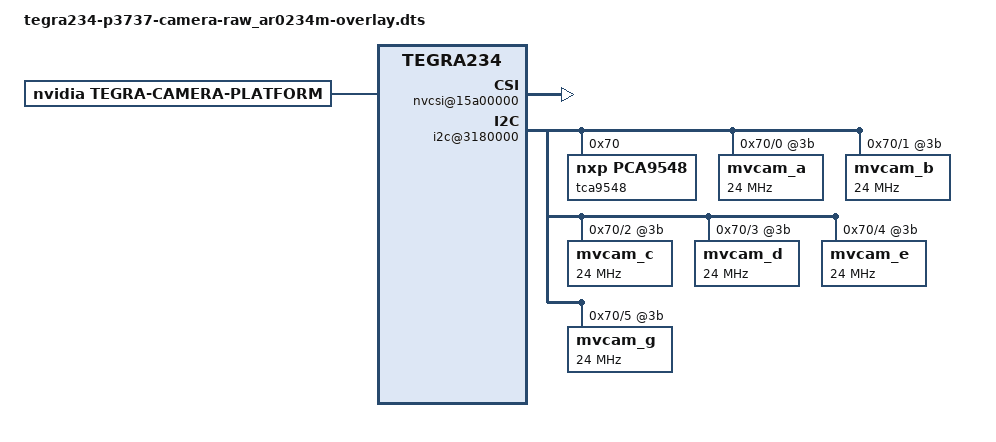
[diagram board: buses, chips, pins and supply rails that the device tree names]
// SPDX-License-Identifier: GPL-2.0-only
// SPDX-FileCopyrightText: Copyright (c) 2015-2024, www.veye.cc.  All rights reserved.

/dts-v1/;
/plugin/;

#include <dt-bindings/clock/tegra234-clock.h>
#include <dt-bindings/gpio/tegra234-gpio.h>
#include <dt-bindings/tegra234-p3737-0000+p3701-0000.h>

#include "tegra234-camera-veye_mvcam-a00.dtsi"

#define CAM0_RST_L	TEGRA234_MAIN_GPIO(H, 3)
#define CAM0_PWDN	TEGRA234_MAIN_GPIO(H, 6)
#define CAM1_RST_L	TEGRA234_MAIN_GPIO(AC, 1)
#define CAM1_PWDN	TEGRA234_MAIN_GPIO(AC, 0)

/ {

	overlay-name = "Jetson Camera MV and RAW series camera module";
	jetson-header-name = "Jetson AGX CSI Connector";
	compatible = JETSON_COMPATIBLE;
 
    
	fragment@1 {
		target-path = "/";

		__overlay__ {
            /* all cameras are enabled by default */
             tegra-capture-vi {
                ports {
		    status = "okay";
                     port@0 {
                        status = "okay";
                         endpoint {
                            vc-id = <0>;
                            status = "okay";
                        };
                    };
                     port@1 {
                        status = "okay";
                         endpoint {
                            vc-id = <0>;
                            status = "okay";
                        };
                    };
                     port@2 {
                        status = "okay";
                         endpoint {
                            vc-id = <0>;
                            status = "okay";
                        };
                    };
                     port@3 {
                        status = "okay";
                         endpoint {
                            vc-id = <0>;
                            status = "okay";
                        };
                    };
                     port@4 {
                        status = "okay";
                         endpoint {
                            vc-id = <0>;
                            status = "okay";
                        };
                    };
                     port@5 {
                        status = "okay";
                         endpoint {
                            vc-id = <0>;
                            status = "okay";
                        };
                    };
                };
            };
             tegra-camera-platform {
                    compatible = "nvidia, tegra-camera-platform";
                    modules {
                         module0 {
                            status = "okay";
                             drivernode0 {
                                status = "okay";
                            };
                            
                        };
                         module1 {
                            status = "okay";
                             drivernode0 {
                                status = "okay";
                            };
                            
                        };
                         module2 {
                            status = "okay";
                             drivernode0 {
                                status = "okay";
                            };
                            
                        };
                         module3 {
                            status = "okay";
                             drivernode0 {
                                status = "okay";
                            };
                            
                        };
                         module4 {
                            status = "okay";
                             drivernode0 {
                                status = "okay";
                            };
                            
                        };
                         module5 {
                            status = "okay";
                             drivernode0 {
                                status = "okay";
                            };
                            
                        };
                    };
                };
		bus@0 {
                host1x@13e00000 {
                     nvcsi@15a00000 {
                        status = "okay";
                         channel@0 {
                            status = "okay";
                            ports {
                                status = "okay";
                                 port@0 {
                                    status = "okay";
                                     endpoint@0 {
                                        status = "okay";
                                    };
                                };
                                 port@1 {
                                    status = "okay";
                                     endpoint@1 {
                                        status = "okay";
                                    };
                                };
                            };
                        };
                         channel@1 {
                            status = "okay";
                            ports {
                                status = "okay";
                                 port@0 {
                                    status = "okay";
                                     endpoint@2 {
                                        status = "okay";
                                    };
                                };
                                 port@1 {
                                    status = "okay";
                                     endpoint@3 {
                                        status = "okay";
                                    };
                                };
                            };
                        };
                         channel@2 {
                            status = "okay";
                            ports {
                            status = "okay";
                                 port@0 {
                                    status = "okay";
                                     endpoint@4 {
                                        status = "okay";
                                    };
                                };
                                 port@1 {
                                    status = "okay";
                                     endpoint@5 {
                                        status = "okay";
                                    };
                                };
                            };
                        };
                         channel@3 {
                            status = "okay";
                            ports {
                            status = "okay";
                                 port@0 {
                                    status = "okay";
                                     endpoint@6 {
                                        status = "okay";
                                    };
                                };
                                 port@1 {
                                    status = "okay";
                                     endpoint@7 {
                                        status = "okay";
                                    };
                                };
                            };
                        };
                         channel@4 {
                            status = "okay";
                            ports {
                            status = "okay";
                                 port@0 {
                                    status = "okay";
                                     endpoint@8 {
                                        status = "okay";
                                    };
                                };
                                 port@1 {
                                    status = "okay";
                                     endpoint@9 {
                                        status = "okay";
                                    };
                                };
                            };
                        };
                         channel@5 {
                            status = "okay";
                            ports {
                            status = "okay";
                                 port@0 {
                                    status = "okay";
                                     endpoint@10 {
                                        status = "okay";
                                    };
                                };
                                 port@1 {
                                    status = "okay";
                                     endpoint@11 {
                                        status = "okay";
                                    };
                                };
                            };
                        };
                    };
                };

                i2c@3180000 {
				
                     tca9548@70 {
                        status = "okay";
                        compatible = "nxp,pca9548";
                        reg = <0x70>;
                        #address-cells = <1>;
                        #size-cells = <0>;
                        skip_mux_detect;
                        i2c@0 {
                            reg = <0>;
                            i2c-mux,deselect-on-exit;
                            #address-cells = <1>;
                            #size-cells = <0>;
                            mvcam_a@3b {
                                status = "okay";
                                clocks = <&bpmp TEGRA234_CLK_EXTPERIPH1>,
                                     <&bpmp TEGRA234_CLK_PLLP_OUT0>;
                                clock-names = "extperiph1", "pllp_grtba";
                                mclk = "extperiph1";
                                clock-frequency = <24000000>;
                                mode0 {
					                    embedded_metadata_height = "4";
					                };
                                //reset-gpios = <&tegra_main_gpio CAM0_RST_L GPIO_ACTIVE_HIGH>;
                                //pwdn-gpios = <&tegra_main_gpio CAM0_PWDN GPIO_ACTIVE_HIGH>;
                                ports {
									status = "okay";
									port@0 {
										status = "okay";
										endpoint {
											status = "okay";
										};
									};
                                };
                            };
                        };
                        i2c@1 {
                            reg = <1>;
                            i2c-mux,deselect-on-exit;
                            #address-cells = <1>;
                            #size-cells = <0>;
                            mvcam_b@3b {
                                status = "okay";
                                clocks = <&bpmp TEGRA234_CLK_EXTPERIPH1>,
                                     <&bpmp TEGRA234_CLK_PLLP_OUT0>;
                                clock-names = "extperiph1", "pllp_grtba";
                                mclk = "extperiph1";
                                clock-frequency = <24000000>;
                                mode0 {
					                    embedded_metadata_height = "4";
					                };
                                //reset-gpios = <&tegra_main_gpio CAM1_RST_L GPIO_ACTIVE_HIGH>;
                                //pwdn-gpios = <&tegra_main_gpio CAM1_PWDN GPIO_ACTIVE_HIGH>;
                                ports {
									status = "okay";
									port@0 {
										status = "okay";
										endpoint {
											status = "okay";
										};
									};
                                };
                            };
                        };
                        i2c@2 {
                            reg = <2>;
                            i2c-mux,deselect-on-exit;
                            #address-cells = <1>;
                            #size-cells = <0>;
                            mvcam_c@3b {
                                status = "okay";
                                clocks = <&bpmp TEGRA234_CLK_EXTPERIPH1>,
                                     <&bpmp TEGRA234_CLK_PLLP_OUT0>;
                                clock-names = "extperiph1", "pllp_grtba";
                                mclk = "extperiph1";
                                clock-frequency = <24000000>;
                                mode0 {
					                    embedded_metadata_height = "4";
					                };
                                //pwdn-gpios = <&tca6408_21 0 GPIO_ACTIVE_HIGH>;
                                //reset-gpios = <&tca6408_21 1 GPIO_ACTIVE_HIGH>;
                                ports {
									status = "okay";
									port@0 {
										status = "okay";
										endpoint {
											status = "okay";
										};
									};
                                };
                            };
                        };
                        i2c@3 {
                            reg = <3>;
                            i2c-mux,deselect-on-exit;
                            #address-cells = <1>;
                            #size-cells = <0>;
                            mvcam_d@3b {
                                status = "okay";
                                clocks = <&bpmp TEGRA234_CLK_EXTPERIPH2>,
                                     <&bpmp TEGRA234_CLK_PLLP_OUT0>;
                                clock-names = "extperiph2", "pllp_grtba";
                                mclk = "extperiph2";
                                clock-frequency = <24000000>;
                                mode0 {
					                    embedded_metadata_height = "4";
					                };
                                //pwdn-gpios = <&tca6408_21 2 GPIO_ACTIVE_HIGH>;
                                //reset-gpios = <&tca6408_21 3 GPIO_ACTIVE_HIGH>;
                                ports {
									status = "okay";
									port@0 {
										status = "okay";
										endpoint {
											status = "okay";
										};
									};
                                };
                            };
                        };
                        i2c@4 {
                            reg = <4>;
                            i2c-mux,deselect-on-exit;
                            #address-cells = <1>;
                            #size-cells = <0>;
                            mvcam_e@3b {
                                status = "okay";
                                clocks = <&bpmp TEGRA234_CLK_EXTPERIPH2>,
                                     <&bpmp TEGRA234_CLK_PLLP_OUT0>;
                                clock-names = "extperiph2", "pllp_grtba";
                                mclk = "extperiph2";
                                clock-frequency = <24000000>;
                                mode0 {
					                    embedded_metadata_height = "4";
					                };
                                //pwdn-gpios = <&tca6408_21 4 GPIO_ACTIVE_HIGH>;
                                //reset-gpios = <&tca6408_21 5 GPIO_ACTIVE_HIGH>;
                                ports {
									status = "okay";
									port@0 {
										status = "okay";
										endpoint {
											status = "okay";
										};
									};
                                };
                            };
                        };
                        i2c@5 {
                            reg = <5>;
                            i2c-mux,deselect-on-exit;
                            #address-cells = <1>;
                            #size-cells = <0>;
                            mvcam_g@3b {
                                status = "okay";
                                clocks = <&bpmp TEGRA234_CLK_EXTPERIPH2>,
                                     <&bpmp TEGRA234_CLK_PLLP_OUT0>;
                                clock-names = "extperiph2", "pllp_grtba";
                                mclk = "extperiph2";
                                clock-frequency = <24000000>;
                                mode0 {
					                    embedded_metadata_height = "4";
					                };
                                //pwdn-gpios = <&tca6408_21 6 GPIO_ACTIVE_HIGH>;
                                //reset-gpios = <&tca6408_21 7 GPIO_ACTIVE_HIGH>;
                                ports {
									status = "okay";
									port@0 {
										status = "okay";
										endpoint {
											status = "okay";
										};
									};
                                };
                            };
						};
					};
				};
			};
		};
	};
};
